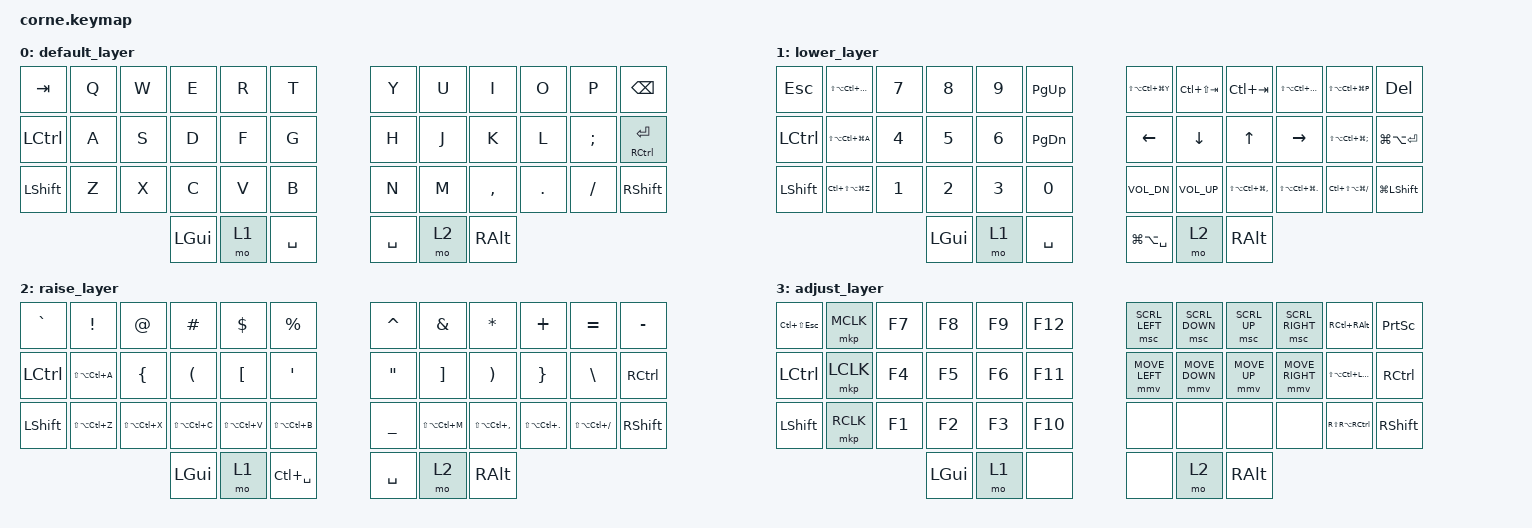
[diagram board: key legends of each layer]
/*
 * Copyright (c) 2020 The ZMK Contributors
 *
 * SPDX-License-Identifier: MIT
 */

#define ZMK_POINTING_DEFAULT_MOVE_VAL 1500
#define ZMK_POINTING_DEFAULT_SCRL_VAL 25

#include <behaviors.dtsi>
#include <dt-bindings/zmk/keys.h>
#include <dt-bindings/zmk/pointing.h>

#define LOWER   1
#define RAISE   2

&mt {
    tapping-term-ms = <250>;
    flavor = "balanced";
};

/ {
    keymap {
        compatible = "zmk,keymap";

        default_layer {
            bindings = <
&kp TAB    &kp Q  &kp W  &kp E     &kp R  &kp T        &kp Y      &kp U  &kp I      &kp O    &kp P     &kp BSPC
&kp LCTRL  &kp A  &kp S  &kp D     &kp F  &kp G        &kp H      &kp J  &kp K      &kp L    &kp SEMI  &mt RCTRL RET
&kp LSHFT  &kp Z  &kp X  &kp C     &kp V  &kp B        &kp N      &kp M  &kp COMMA  &kp DOT  &kp FSLH  &kp RSHFT
                         &kp LGUI  &mo 1  &kp SPACE    &kp SPACE  &mo 2  &kp RALT
            >;
        };

        lower_layer {
            bindings = <
&kp ESC    &kp LS(LA(LC(LG(Q))))  &kp N7  &kp N8    &kp N9  &kp PAGE_UP      &kp LS(LA(LC(LG(Y))))  &kp LC(LS(TAB))  &kp LC(TAB)                &kp LS(LA(LC(LG(O))))       &kp LS(LA(LC(LG(P))))          &kp DELETE
&kp LCTRL  &kp LS(LA(LC(LG(A))))  &kp N4  &kp N5    &kp N6  &kp PAGE_DOWN    &kp LEFT               &kp DOWN         &kp UP                     &kp RIGHT                   &kp LS(LA(LC(LG(SEMICOLON))))  &kp LG(LA(RET))
&kp LSHFT  &kp LC(LS(LA(LG(Z))))  &kp N1  &kp N2    &kp N3  &kp N0           &kp C_VOL_DN           &kp C_VOL_UP     &kp LS(LA(LC(LG(COMMA))))  &kp LS(LA(LC(LG(PERIOD))))  &kp LC(LS(LA(LG(SLASH))))      &kp LG(LSHFT)
                                          &kp LGUI  &mo 1   &kp SPACE        &kp LG(LA(SPACE))      &mo 2            &kp RALT
            >;
        };

        raise_layer {
            bindings = <
&kp GRAVE  &kp EXCL           &kp AT             &kp POUND             &kp DOLLAR         &kp PERCENT          &kp CARET          &kp AMPS           &kp STAR               &kp PLUS                &kp EQUAL              &kp MINUS
&kp LCTRL  &kp LS(LA(LC(A)))  &kp LEFT_BRACE     &kp LEFT_PARENTHESIS  &kp LEFT_BRACKET   &kp SQT              &kp DOUBLE_QUOTES  &kp RIGHT_BRACKET  &kp RIGHT_PARENTHESIS  &kp RIGHT_BRACE         &kp BACKSLASH          &kp RCTRL
&kp LSHFT  &kp LS(LA(LC(Z)))  &kp LS(LA(LC(X)))  &kp LS(LA(LC(C)))     &kp LS(LA(LC(V)))  &kp LS(LA(LC(B)))    &kp UNDER          &kp LS(LA(LC(M)))  &kp LS(LA(LC(COMMA)))  &kp LS(LA(LC(PERIOD)))  &kp LS(LA(LC(SLASH)))  &kp RSHFT
                                                 &kp LGUI              &mo 1              &kp LC(SPACE)        &kp SPACE          &mo 2              &kp RALT
            >;
        };

        adjust_layer {
            bindings = <
&kp LC(LS(ESC))  &mkp MCLK  &kp F7  &kp F8    &kp F9  &kp F12    &msc SCRL_LEFT  &msc SCRL_DOWN  &msc SCRL_UP  &msc SCRL_RIGHT  &kp RC(RALT)          &kp PRINTSCREEN
&kp LCTRL        &mkp LCLK  &kp F4  &kp F5    &kp F6  &kp F11    &mmv MOVE_LEFT  &mmv MOVE_DOWN  &mmv MOVE_UP  &mmv MOVE_RIGHT  &kp LS(LA(LC(LGUI)))  &kp RCTRL
&kp LSHFT        &mkp RCLK  &kp F1  &kp F2    &kp F3  &kp F10    &none           &none           &none         &none            &kp RS(RA(RCTRL))     &kp RSHFT
                                    &kp LGUI  &mo 1   &none      &none           &mo 2           &kp RALT
            >;
        };
    };

    conditional_layers {
        compatible = "zmk,conditional-layers";

        adjust_condition {
            if-layers = <1 2>;
            then-layer = <3>;
        };
    };
};
